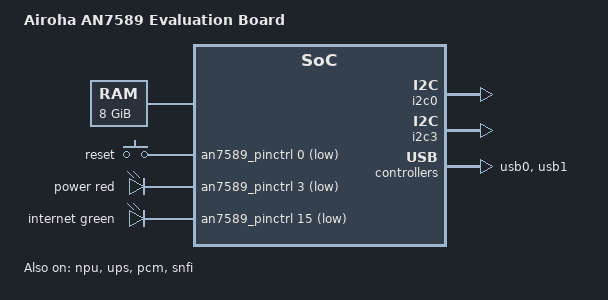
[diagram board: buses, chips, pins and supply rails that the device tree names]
// SPDX-License-Identifier: (GPL-2.0-only OR BSD-2-Clause)
/dts-v1/;

/* Bootloader installs ATF here */
/memreserve/ 0x80000000 0x200000;

#include <dt-bindings/leds/common.h>
#include <dt-bindings/gpio/gpio.h>
#include <dt-bindings/input/input.h>
#include "an7589.dtsi"

/ {
	model = "Airoha AN7589 Evaluation Board";
	compatible = "airoha,an7589-evb";

	aliases {
		serial0 = &uart1;
		serial1 = &uart2;
		serial2 = &uart3;
		serial3 = &uart4;
		serial4 = &uart5;
		serial5 = &uart6;
	};

	chosen {
		bootargs = "console=ttyS0,115200 earlycon";
		stdout-path = "serial0:115200n8";
		linux,usable-memory-range = <0x0 0x80200000 0x0 0x7fe00000>;
	};

	memory@80000000 {
		device_type = "memory";
		reg = <0x0 0x80000000 0x2 0x00000000>;
	};

	gpio-keys-polled {
		compatible = "gpio-keys-polled";
		poll-interval = <100>;
		btn0 {
			label = "reset";
			linux,code = <KEY_RESTART>;
			gpios = <&an7589_pinctrl 0 GPIO_ACTIVE_LOW>;
		};
	};

	bob_nvm {
		compatible = "airoha,airoha-bob";

		nvmem-cells = <&bob_factory>, <&onu_type_factory>, <&board_config_factory>;
		nvmem-cell-names = "bob_data", "onu_type", "board_config";
	};

	leds {
		compatible = "gpio-leds";

		led-0 {
			label = "power";
			color = <LED_COLOR_ID_RED>;
			function = LED_FUNCTION_POWER;
			gpios = <&an7589_pinctrl 3 GPIO_ACTIVE_LOW>;
			default-state = "on";
		};

		led-2 {
			label = "internet";
			color = <LED_COLOR_ID_GREEN>;
			function = LED_FUNCTION_STATUS;
			gpios = <&an7589_pinctrl 15 GPIO_ACTIVE_LOW>;
			default-state = "on";
		};
	};

	sound: sound {
		compatible = "airoha,an7581-wm8960-sound";

		status = "disabled";

		platform {
			sound-dai = <&afe>;
		};
	};

};

&scuclk {
	mdio_0: mdio-bus@c8 {
		clock-frequency = <12500000>;

		as22xx_1: ethernet-phy@1c {
			reg = <0x1c>;
			trd-swap = <1>;
			compatible = "ethernet-phy-ieee802.3-c45";
			firmware-name = "as22x1x_fw.bin";
			reset-deassert-us = <350000>;
			reset-assert-us = <200000>;
			reset-gpios = <&an7589_pinctrl 25 GPIO_ACTIVE_LOW>;
			status = "disabled";
		};
		as22xx_2: ethernet-phy@19 {
			reg = <0x19>;
			trd-swap = <1>;
			compatible = "ethernet-phy-ieee802.3-c45";
			firmware-name = "as22x1x_fw.bin";
			reset-deassert-us = <350000>;
			reset-assert-us = <200000>;
			reset-gpios = <&an7589_pinctrl 26 GPIO_ACTIVE_LOW>;
			status = "disabled";
		};
		as22xx_3: ethernet-phy@1f {
			reg = <0x1f>;
			trd-swap = <1>;
			compatible = "ethernet-phy-ieee802.3-c45";
			firmware-name = "as22x1x_fw.bin";
			reset-deassert-us = <350000>;
			reset-assert-us = <200000>;
			reset-gpios = <&an7589_pinctrl 27 GPIO_ACTIVE_LOW>;
			status = "disabled";
		};
		as22xx_4: ethernet-phy@1b {
			reg = <0x1b>;
			trd-swap = <1>;
			compatible = "ethernet-phy-ieee802.3-c45";
			firmware-name = "as22x1x_fw.bin";
			reset-deassert-us = <350000>;
			reset-assert-us = <200000>;
			reset-gpios = <&an7589_pinctrl 28 GPIO_ACTIVE_LOW>;
			status = "disabled";
		};
		as22xx_5: ethernet-phy@1d {
			reg = <0x1d>;
			trd-swap = <1>;
			compatible = "ethernet-phy-ieee802.3-c45";
			firmware-name = "as22x1x_fw.bin";
			reset-deassert-us = <350000>;
			reset-assert-us = <200000>;
			reset-gpios = <&an7589_pinctrl 43 GPIO_ACTIVE_LOW>;
			status = "disabled";
		};
	};
};

&switch {
	mdio-bus = <&mdio_0>;
};

&npu {
	firmware-name = "airoha/an7589_MT7999_npu_rv32.bin",
			"airoha/an7589_MT7999_npu_data.bin";
	status = "okay";
};

&i2c0 {
	pinctrl-names = "default";
	pinctrl-0 = <&i2c0_pins>;
	status = "okay";
};

&i2c3 {
	pinctrl-names = "default";
	pinctrl-0 = <&i2c3_pins>;
	status = "okay";
};

&uart2 {
	pinctrl-names = "default";
	pinctrl-0 = <&uart2_pins>;
	status = "disabled";
};

&uart3 {
	pinctrl-names = "default";
	pinctrl-0 = <&uart3_pins>;
	status = "disabled";
};

&uart4 {
	pinctrl-names = "default";
	pinctrl-0 = <&uart4_pins>;
	status = "disabled";
};

&uart5 {
	pinctrl-names = "default";
	pinctrl-0 = <&uart5_pins>;
	status = "disabled";
};

&uart6 {
	pinctrl-names = "default";
	pinctrl-0 = <&uart6_pins>;
	status = "disabled";
};

&usb0 {
	status = "okay";
};

&usb1 {
	status = "okay";
};

&an7589_port1 {
	status = "disabled";
};

&an7589_port2 {
	status = "disabled";
};

&an7589_port3 {
	status = "disabled";
};

&an7589_port4 {
	status = "disabled";
};

&an7589_port5 {
	status = "disabled";
};

&an7589_port9 {
	status = "disabled";
};

&an7589_port10 {
	status = "disabled";
};

&an7589_port11 {
	status = "disabled";
};

&ups {
	status = "okay";
	nvmem-cells = <&onu_type_factory>, <&mac_factory>;
	nvmem-cell-names = "onu_type", "mac";
};

&sound {
	audio-routing = "Left Input Mixer", "MICB",
			"Left Input Mixer", "LINPUT1",
			"Left ADC", "Left Input Mixer",
			"Capture", "Left ADC",

			"Right Input Mixer", "MICB",
			"Right Input Mixer", "RINPUT1",
			"Right ADC", "Right Input Mixer",
			"Capture", "Right ADC",

			"Left DAC", "Playback",
			"Left Output Mixer", "Left DAC",
			"LOUT1 PGA", "Left Output Mixer",
			"SPK_LP", "LOUT1 PGA",
			"SPK_LN", "LOUT1 PGA",

			"Right DAC", "Playback",
			"Right Output Mixer", "Right DAC",
			"ROUT1 PGA", "Right Output Mixer",
			"SPK_RP", "ROUT1 PGA",
			"SPK_RN", "ROUT1 PGA";
	dai-format = "i2s";
	mediatek,clk-provider = "codec";
	status = "disabled";
};

&afe {
	pinctrl-names = "default";
	pinctrl-0 = <&i2s_pins>;
	status = "disabled";
};

&pcm {
	pinctrl-names = "default";
	pinctrl-0 = <&pcm1_pins>;
	status = "okay";
};

&snfi {
	status = "okay";
};

&spi_nand {
	partitions {
		compatible = "fixed-partitions";
		#address-cells = <1>;
		#size-cells = <1>;

		bl2@0 {
			label = "bl2";
			reg = <0x0 0x200000>;
		};

		ubi@200000 {
			label = "ubi";
			compatible = "linux,ubi";
			reg = <0x200000 0x0>;
			volumes {
				ubi_fip: ubi-volume-fip {
					volname = "fip";
				};
				ubi_ubootenv: ubi-volume-ubootenv {
					volname = "ubootenv";
				};
				ubi_ubootenv2: ubi-volume-ubootenv2 {
					volname = "ubootenv2";
				};
				ubi_art: ubi-volume-art {
					volname = "art";
				};
				ubi_kernel: ubi-volume-kernel {
					volname = "kernel";
				};
				ubi_rootfs: ubi-volume-rootfs {
					volname = "rootfs";
				};
				ubi_kernel_alt: ubi-volume-kernel_alt {
					volname = "kernel_alt";
				};
				ubi_rootfs_alt: ubi-volume-rootfs_alt {
					volname = "rootfs_alt";
				};
				ubi_rootfs_data: ubi-volume-rootfs_data {
					volname = "rootfs_data";
				};
			};
		};
	};
};

&ubi_art {
	nvmem-layout {
		compatible = "fixed-layout";
		#address-cells = <1>;
		#size-cells = <1>;

		eeprom_factory: eeprom@40000 {
			reg = <0x40000 0x1e00>;
		};

		bob_factory: bob_factory@260000 {
			reg = <0x260000 0x800>;
		};

		mac_factory: mac@2c0000 {
			reg = <0x2c0000 0x6>;
		};

		onu_type_factory: onu_type@2e0000 {
			reg = <0x2e0000 0x10>;
		};

		board_config_factory: board_config@2e0010 {
			reg = <0x2e0010 0x4>;
		};

		disable_voip_factory: disable_voip@2e1400 {
			reg = <0x2e1400 0x2>;
		};

		wifi8_eeprom_factory: wifi8_eeprom@2e2000 {
			reg = <0x2e2000 0x6400>;
		};
	};
};
